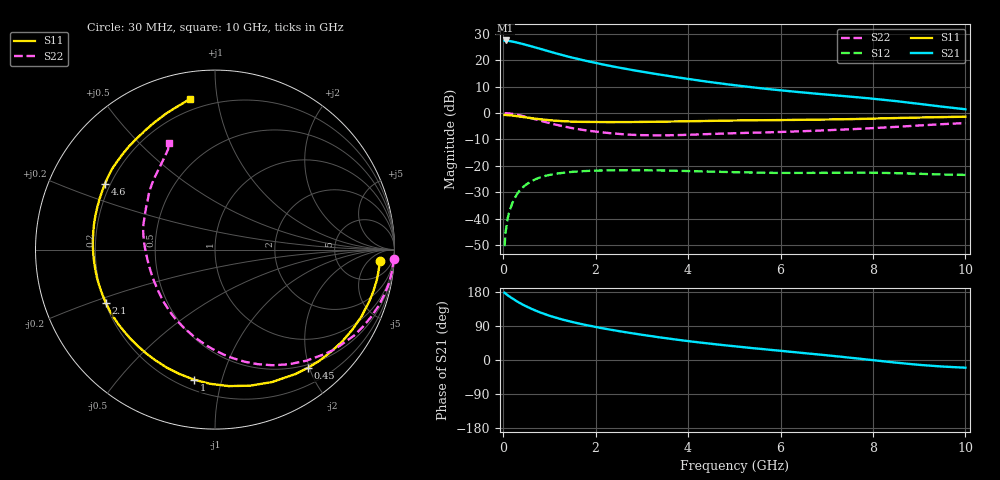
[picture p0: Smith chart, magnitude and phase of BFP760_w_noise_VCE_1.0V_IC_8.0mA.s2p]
! Infineon Technologies  Discrete & RF Semiconductors
! BFP760
! VCE =  1.0 V,  IC =  8.0 mA
! Common Emitter S-Parameters:  Nov 2012
# GHz  S  MA  R  50
!  f  S11  S21  S12  S22
! GHz  MAG  ANG  MAG  ANG  MAG  ANG  MAG  ANG
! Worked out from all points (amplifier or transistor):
!   99 points, 30 MHz to 10 GHz, reference 50 ohm
!   highest |S21| = 27.5 dB at 50 MHz (marker M1)
!   |S21| within 3 dB of that: start of sweep to 766.5 MHz
!   unconditionally stable (mu >= 1): 5.771 GHz to end of sweep
!   at 350 MHz: K = 0.11, MSG = 28.0 dB, |S12| = -29.5 dB
!   at 3.5 GHz: K = 0.61, MSG = 18.0 dB, |S12| = -21.8 dB
!   at 10 GHz: K = 1.29, MAG = 9.2 dB, |S12| = -23.4 dB
!   lowest NFmin = 0.46 dB at 900 MHz
!   S11 on the Smith chart (normalised r, x): 30 MHz: 15, -12; 450 MHz: 0.45, -1.97; 1 GHz: 0.26, -0.82; 2.1 GHz: 0.20, -0.22; 4.6 GHz: 0.18, +0.27; 10 GHz: 0.14, +0.84
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0.03  0.922 -3.8  23.43 177.4  0.003 85.9  0.9965 -2.9
0.04  0.9219 -5.1  23.49 176.6  0.004 86.0  0.9954 -3.9
0.05  0.9195 -6.3  23.8 175.0  0.0055 88.4  0.9951 -4.8
0.15  0.9063 -18.6  23.11 166.3  0.0151 80.0  0.9781 -14.3
0.25  0.8856 -30.3  22.2 158.4  0.0246 73.2  0.9473 -23.3
0.35  0.8609 -41.4  21.13 151.0  0.0334 66.4  0.9109 -31.7
0.45  0.8375 -51.9  20.1 144.4  0.041 60.7  0.8695 -39.5
0.6  0.8033 -66.8  18.53 135.7  0.0505 53.3  0.8018 -50.5
0.7  0.7829 -75.6  17.47 130.5  0.0559 48.9  0.7602 -57.2
0.8  0.7642 -84.3  16.54 125.5  0.0604 44.7  0.7206 -63.4
1  0.7338 -99.2  14.7 116.9  0.0672 37.8  0.6473 -75.0
1.3  0.7006 -118.1  12.44 106.2  0.0738 29.5  0.5601 -90.2
1.5  0.6881 -128.6  11.22 100.2  0.0769 25.2  0.517 -99.1
1.7  0.6812 -138.0  10.21 94.6  0.0791 21.7  0.483 -107.3
2.1  0.6766 -153.8  8.547 84.8  0.0815 15.4  0.4352 -123.0
2.7  0.6762 -172.4  6.776 72.3  0.0828 8.5  0.3916 -143.6
3.4  0.6865 170.3  5.344 59.5  0.0817 2.6  0.3783 -164.9
4.6  0.7139 149.3  3.746 41.4  0.0773 -3.1  0.4043 170.0
5.1  0.7251 143.6  3.3 35.0  0.0755 -4.3  0.4177 163.3
6.7  0.7496 129.2  2.362 16.0  0.0736 -5.6  0.4608 145.2
8.5  0.8058 109.7  1.685 -7.0  0.0727 -10.2  0.5477 124.9
10  0.8532 99.4  1.181 -20.3  0.0673 -9.9  0.6476 113.3
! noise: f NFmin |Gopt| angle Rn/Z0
0.9  0.46  0.29  26  0.1
1.8  0.52  0.23  54  0.09
2.4  0.57  0.18  81  0.09
3.5  0.75  0.16  119  0.08
5.5  0.95  0.3  -146  0.08
8  1.43  0.42  -98  0.24
